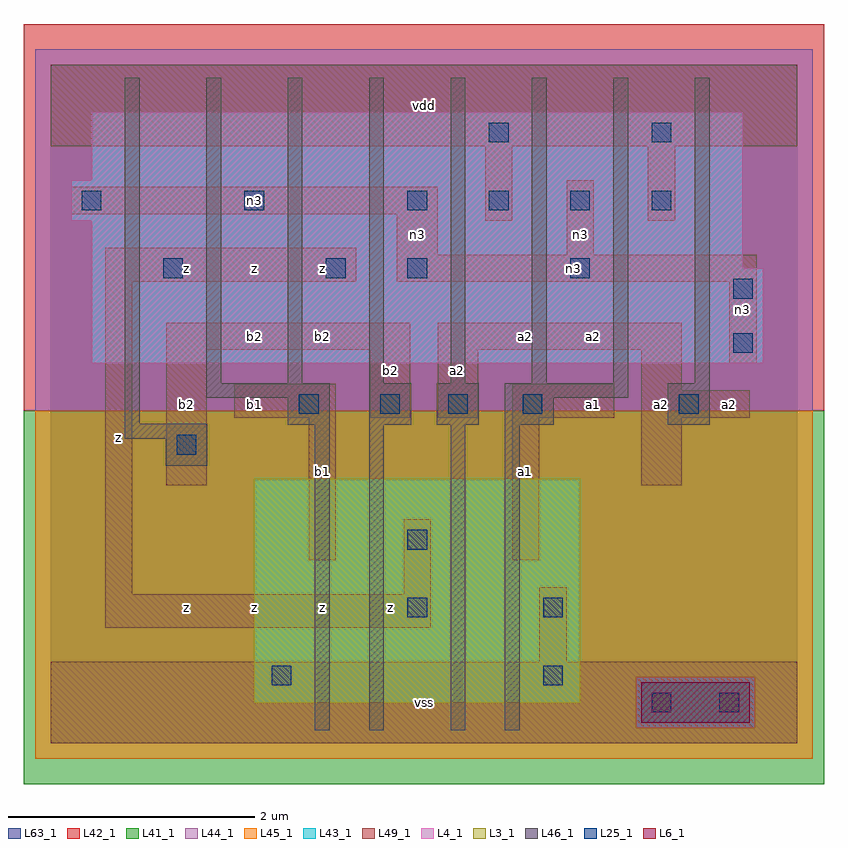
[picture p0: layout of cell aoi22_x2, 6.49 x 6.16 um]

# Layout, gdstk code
import gdstk
lib = gdstk.Library(unit=1e-6, precision=1e-09)
def R(c, l, rs):  # rectangles x0, y0, x1, y1
    for r in rs: c.add(gdstk.rectangle(r[:2], r[2:], *l))
def A(c, l, x, y, w, h, nx, ny, dx, dy):  # array of equal rectangles
    R(c, l, [(x+i*dx, y+j*dy, x+i*dx+w, y+j*dy+h) for i in range(nx) for j in range(ny)])
L3_1 = (3, 1)
L4_1 = (4, 1)
L6_1 = (6, 1)
L25_1 = (25, 1)
L41_1 = (41, 1)
L42_1 = (42, 1)
L43_1 = (43, 1)
L44_1 = (44, 1)
L45_1 = (45, 1)
L46_1 = (46, 1)
L49_1 = (49, 1)
L63_1 = (63, 1)

aoi22_x2 = lib.new_cell('aoi22_x2')
R(aoi22_x2, L3_1, [(1.65,0.33,4.29,2.145)])
R(aoi22_x2, L4_1, [(0.33,3.08,5.775,3.85), (0.33,3.85,5.61,4.235), (0.165,4.235,5.61,4.565), (0.33,4.565,5.61,5.115)])
R(aoi22_x2, L6_1, [(4.785,0.165,5.665,0.495)])
A(aoi22_x2, L25_1, 0.25, 4.32, 0.16, 0.16, 3, 1, 1.32, 0)
A(aoi22_x2, L25_1, 3.55, 4.32, 0.16, 0.16, 3, 1, 0.66, 0)
R(aoi22_x2, L25_1, [(4.87,0.25,5.03,0.41), (5.42,0.25,5.58,0.41), (1.79,0.47,1.95,0.63), (3.99,0.47,4.15,0.63), (2.89,1.02,3.05,1.18), (3.99,1.02,4.15,1.18), (2.89,1.57,3.05,1.73), (1.02,2.34,1.18,2.5), (2.01,2.67,2.17,2.83), (2.67,2.67,2.83,2.83), (3.22,2.67,3.38,2.83), (3.825,2.67,3.985,2.83), (5.09,2.67,5.25,2.83), (5.53,3.165,5.69,3.325), (5.53,3.605,5.69,3.765), (0.91,3.77,1.07,3.93), (2.23,3.77,2.39,3.93), (2.89,3.77,3.05,3.93), (4.21,3.77,4.37,3.93), (3.55,4.87,3.71,5.03), (4.87,4.87,5.03,5.03)])
R(aoi22_x2, L41_1, [(-0.22,-0.33,6.27,2.695)])
R(aoi22_x2, L42_1, [(-0.22,2.695,6.27,5.83)])
R(aoi22_x2, L43_1, [(4.785,0.165,5.665,0.495), (1.65,0.33,4.29,2.145), (0.33,3.08,5.775,3.85), (0.33,3.85,5.61,4.235), (0.165,4.235,5.61,4.565), (0.33,4.565,5.61,5.115)])
R(aoi22_x2, L44_1, [(4.745,0.125,5.705,0.535), (-0.125,2.695,6.175,5.625)])
R(aoi22_x2, L45_1, [(-0.125,-0.125,6.175,0.125), (-0.125,0.125,4.745,0.535), (5.705,0.125,6.175,0.535), (-0.125,0.535,6.175,2.695)])
A(aoi22_x2, L46_1, 1.26, 2.92, 0.12, 2.475, 7, 1, 0.66, 0)
R(aoi22_x2, L46_1, [(2.14,0.105,2.26,2.58), (2.58,0.105,2.7,2.58), (3.24,0.105,3.36,2.58), (3.68,0.105,3.8,2.58), (0.93,2.25,1.27,2.47), (0.6,2.47,1.27,2.59), (1.92,2.58,2.26,2.8), (2.58,2.58,2.92,2.92), (3.13,2.58,3.47,2.92), (3.68,2.58,4.075,2.8), (5,2.58,5.34,2.92), (0.6,2.59,0.72,5.395), (1.26,2.8,2.26,2.92), (3.68,2.8,4.68,2.92)])
R(aoi22_x2, L49_1, [(0,0,6.05,0.66), (3.96,0.66,4.18,1.265), (0.44,0.935,3.08,1.21), (0.44,1.21,0.66,3.74), (2.86,1.21,3.08,1.815), (2.09,1.485,2.31,2.64), (3.74,1.485,3.96,2.64), (0.935,2.09,1.265,3.19), (4.785,2.09,5.115,2.64), (1.485,2.64,2.31,2.915), (2.585,2.64,2.915,3.19), (3.135,2.64,3.465,3.19), (3.74,2.64,4.565,2.915), (4.785,2.64,5.665,2.86), (4.785,2.86,5.115,3.19), (5.5,3.08,5.72,3.74), (0.935,3.19,2.915,3.41), (3.135,3.19,5.115,3.41), (0.44,3.74,2.475,4.015), (2.805,3.74,5.72,3.96), (2.805,3.96,3.135,4.29), (4.18,3.96,4.4,4.565), (3.52,4.235,3.74,4.84), (4.84,4.235,5.06,4.84), (0.165,4.29,3.135,4.51), (0,4.84,6.05,5.5)])
R(aoi22_x2, L63_1, [(0,0,6.05,5.5)])
aoi22_x2.add(gdstk.Label('z', (0.55,2.475), layer=49, texttype=1))
aoi22_x2.add(gdstk.Label('z', (0.55,2.475), layer=49, texttype=1))
aoi22_x2.add(gdstk.Label('z', (2.2,1.1), layer=49, texttype=1))
aoi22_x2.add(gdstk.Label('z', (1.65,1.1), layer=49, texttype=1))
aoi22_x2.add(gdstk.Label('z', (1.65,1.1), layer=49, texttype=1))
aoi22_x2.add(gdstk.Label('z', (2.2,1.1), layer=49, texttype=1))
aoi22_x2.add(gdstk.Label('z', (1.1,1.1), layer=49, texttype=1))
aoi22_x2.add(gdstk.Label('z', (1.1,1.1), layer=49, texttype=1))
aoi22_x2.add(gdstk.Label('b1', (2.2,2.2), layer=49, texttype=1))
aoi22_x2.add(gdstk.Label('b1', (2.2,2.2), layer=49, texttype=1))
aoi22_x2.add(gdstk.Label('b2', (1.1,2.75), layer=49, texttype=1))
aoi22_x2.add(gdstk.Label('b2', (1.1,2.75), layer=49, texttype=1))
aoi22_x2.add(gdstk.Label('b1', (1.65,2.75), layer=49, texttype=1))
aoi22_x2.add(gdstk.Label('b1', (1.65,2.75), layer=49, texttype=1))
aoi22_x2.add(gdstk.Label('b2', (2.2,3.3), layer=49, texttype=1))
aoi22_x2.add(gdstk.Label('b2', (1.65,3.3), layer=49, texttype=1))
aoi22_x2.add(gdstk.Label('b2', (1.65,3.3), layer=49, texttype=1))
aoi22_x2.add(gdstk.Label('b2', (2.2,3.3), layer=49, texttype=1))
aoi22_x2.add(gdstk.Label('z', (1.1,3.85), layer=49, texttype=1))
aoi22_x2.add(gdstk.Label('z', (1.1,3.85), layer=49, texttype=1))
aoi22_x2.add(gdstk.Label('z', (2.2,3.85), layer=49, texttype=1))
aoi22_x2.add(gdstk.Label('z', (1.65,3.85), layer=49, texttype=1))
aoi22_x2.add(gdstk.Label('z', (2.2,3.85), layer=49, texttype=1))
aoi22_x2.add(gdstk.Label('z', (1.65,3.85), layer=49, texttype=1))
aoi22_x2.add(gdstk.Label('vss', (3.025,0.33), layer=49, texttype=1))
aoi22_x2.add(gdstk.Label('vss', (3.025,0.33), layer=49, texttype=1))
aoi22_x2.add(gdstk.Label('z', (2.75,1.1), layer=49, texttype=1))
aoi22_x2.add(gdstk.Label('z', (2.75,1.1), layer=49, texttype=1))
aoi22_x2.add(gdstk.Label('a2', (3.3,3.025), layer=49, texttype=1))
aoi22_x2.add(gdstk.Label('b2', (2.75,3.025), layer=49, texttype=1))
aoi22_x2.add(gdstk.Label('b2', (2.75,3.025), layer=49, texttype=1))
aoi22_x2.add(gdstk.Label('a2', (3.3,3.025), layer=49, texttype=1))
aoi22_x2.add(gdstk.Label('n3', (2.97,4.125), layer=49, texttype=1))
aoi22_x2.add(gdstk.Label('n3', (1.65,4.4), layer=49, texttype=1))
aoi22_x2.add(gdstk.Label('vdd', (3.025,5.17), layer=49, texttype=1))
aoi22_x2.add(gdstk.Label('vdd', (3.025,5.17), layer=49, texttype=1))
aoi22_x2.add(gdstk.Label('a1', (3.85,2.2), layer=49, texttype=1))
aoi22_x2.add(gdstk.Label('a1', (3.85,2.2), layer=49, texttype=1))
aoi22_x2.add(gdstk.Label('a1', (4.4,2.75), layer=49, texttype=1))
aoi22_x2.add(gdstk.Label('a1', (4.4,2.75), layer=49, texttype=1))
aoi22_x2.add(gdstk.Label('a2', (4.4,3.3), layer=49, texttype=1))
aoi22_x2.add(gdstk.Label('a2', (4.4,3.3), layer=49, texttype=1))
aoi22_x2.add(gdstk.Label('a2', (3.85,3.3), layer=49, texttype=1))
aoi22_x2.add(gdstk.Label('a2', (3.85,3.3), layer=49, texttype=1))
aoi22_x2.add(gdstk.Label('n3', (4.29,4.125), layer=49, texttype=1))
aoi22_x2.add(gdstk.Label('a2', (4.95,2.75), layer=49, texttype=1))
aoi22_x2.add(gdstk.Label('a2', (4.95,2.75), layer=49, texttype=1))
aoi22_x2.add(gdstk.Label('a2', (5.5,2.75), layer=49, texttype=1))
aoi22_x2.add(gdstk.Label('a2', (5.5,2.75), layer=49, texttype=1))
aoi22_x2.add(gdstk.Label('n3', (5.61,3.52), layer=49, texttype=1))
aoi22_x2.add(gdstk.Label('n3', (4.235,3.85), layer=49, texttype=1))

lib.write_gds('aoi22_x2.gds')
